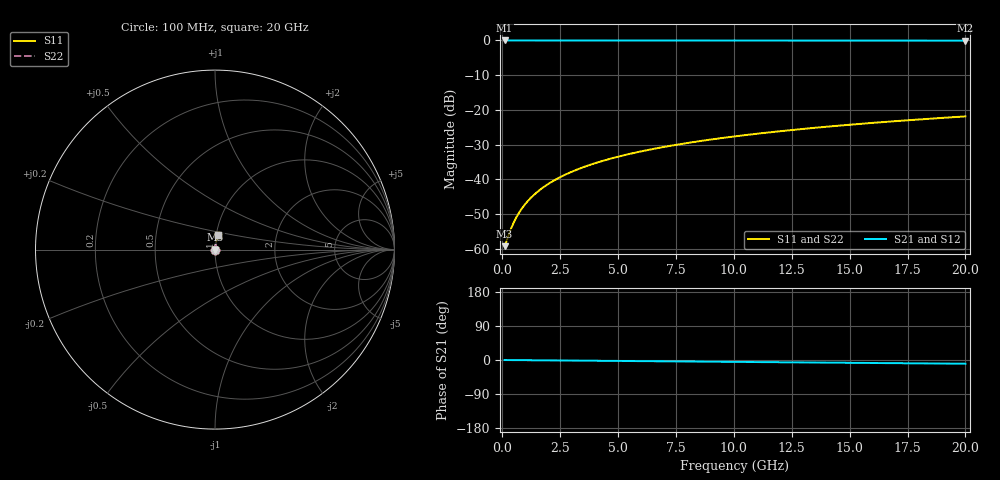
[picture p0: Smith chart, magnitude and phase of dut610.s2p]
! Touchstone file exported from HFSS 2026.1.0
!  File:  C:/ffzhzh/LocalFiles/Ansys_Project_Files/temp_train_TSV_610_1783025675_55676.aedt
!  Generated:  04:57:11 AM Jul  3, 2026
!  Design:  TSV
!  Project:  temp_train_TSV_610_1783025675_55676
! Variables:
!  h_bsmrdl = 2um
!  h_ox = 20um
!  h_rdl = 5um
!  h_sub = 90.45um
!  h_tmrdl = 5um
!  h_tsv = 90.45um
!  h_via = 3um
!  l_bsmrdl = 300um
!  l_sub = 406.52um
!  l_tmrdl = 200um
!  m_sub = 200um
!  pitch = 29.79um
!  r_tsv = 3.26um
!  s_tmrdl = 10um
!  w_bsmrdl = 18um
!  w_sub = 500um
!  w_tmrdl = 12um
!  x_tsv_center1 = 206um
!  x_tsv_center2 = 524um
!  x_tsv_center3 = 736um
!  x_tsv_center4 = 1054um
!  x_tsv_center5 = 1266um
!  x_tsv_center6 = 1584um
# GHz S MA R 50.000000
! Terminal data exported
! Port[1] = TSV1_1_T1
! Port[2] = TSV1_1_T2
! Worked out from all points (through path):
!   200 points, 100 MHz to 20 GHz, reference 50 ohm
!   highest |S21| = -0.01 dB at 100 MHz (marker M1); lowest = -0.1 dB at 20 GHz (marker M2)
!   group delay of S21, straight-line fit = 1.36 ps
!   lowest |S11| = -59.3 dB at 100 MHz (marker M3), VSWR 1.00, Z = 50.1 + j0.0443 ohm
!   |S11| at or under -10 dB: start of sweep to end of sweep
!   |S22| runs from -59.3 to -21.9 dB; largest |S21 - S12| = 2.1e-15
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0.1  0.001089 24.0  0.999 -0.1  0.999 -0.1  0.001089 24.0
! Gamma 0 0 0 0
! Port Impedance 50 0 50 0
0.4  0.002024 59.3  0.999 -0.2  0.999 -0.2  0.002024 59.3
0.5  0.002407 64.2  0.999 -0.3  0.999 -0.3  0.002407 64.2
0.6  0.002801 67.8  0.999 -0.3  0.999 -0.3  0.002801 67.8
0.7  0.003203 70.5  0.9989 -0.4  0.9989 -0.4  0.003203 70.5
0.9  0.004021 74.2  0.9989 -0.5  0.9989 -0.5  0.004021 74.2
1.2  0.005268 77.5  0.9989 -0.6  0.9989 -0.6  0.005268 77.5
1.4  0.006106 78.9  0.9989 -0.7  0.9989 -0.7  0.006106 78.9
1.7  0.007368 80.3  0.9988 -0.9  0.9988 -0.9  0.007368 80.3
2.2  0.009476 81.7  0.9988 -1.1  0.9988 -1.1  0.009476 81.7
2.8  0.012 82.5  0.9987 -1.4  0.9987 -1.4  0.012 82.5
3.5  0.01494 83.0  0.9985 -1.8  0.9985 -1.8  0.01494 83.0
4.2  0.01786 83.1  0.9984 -2.1  0.9984 -2.1  0.01786 83.1
5  0.02116 83.1  0.9982 -2.5  0.9982 -2.5  0.02116 83.1
5.9  0.02486 82.9  0.9979 -3.0  0.9979 -3.0  0.02486 82.9
6.8  0.02852 82.7  0.9976 -3.4  0.9976 -3.4  0.02852 82.7
8.3  0.03457 82.2  0.9972 -4.1  0.9972 -4.1  0.03457 82.2
10.1  0.04176 81.6  0.9967 -5.0  0.9967 -5.0  0.04176 81.6
11.7  0.0481 81.0  0.9962 -5.8  0.9962 -5.8  0.0481 81.0
13.4  0.0548 80.3  0.9956 -6.6  0.9956 -6.6  0.0548 80.3
16.7  0.06771 79.0  0.9945 -8.2  0.9945 -8.2  0.06771 79.0
20  0.0805 77.6  0.9932 -9.8  0.9932 -9.8  0.0805 77.6
